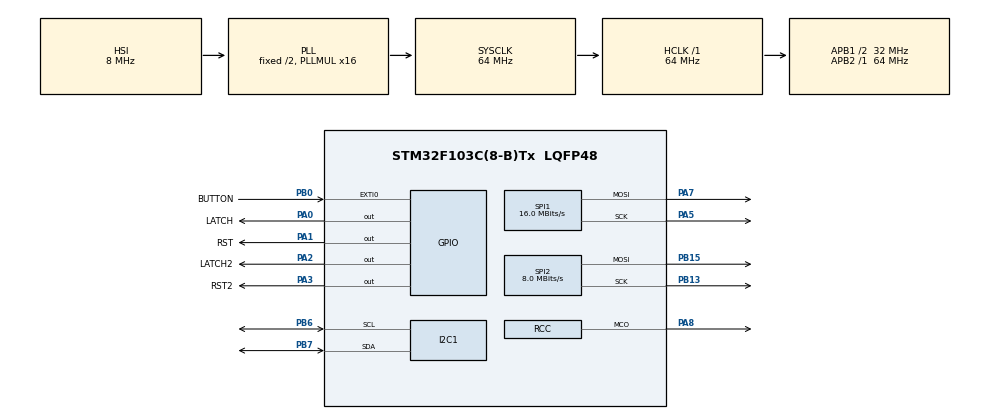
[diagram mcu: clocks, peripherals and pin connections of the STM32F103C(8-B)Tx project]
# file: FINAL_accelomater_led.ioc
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Mcu.Family=STM32F1
Mcu.Name=STM32F103C(8-B)Tx
Mcu.Package=LQFP48
NVIC.EXTI0_IRQn=true\:0\:0\:false\:false\:true\:true\:true
NVIC.PriorityGroup=NVIC_PRIORITYGROUP_4
PA0-WKUP.GPIO_Label=LATCH
PA0-WKUP.Signal=GPIO_Output
PA1.GPIO_Label=RST
PA1.Signal=GPIO_Output
PA13.Mode=Serial_Wire
PA13.Signal=SYS_JTMS-SWDIO
PA14.Mode=Serial_Wire
PA14.Signal=SYS_JTCK-SWCLK
PA2.GPIO_Label=LATCH2
PA2.Signal=GPIO_Output
PA3.GPIO_Label=RST2
PA3.Signal=GPIO_Output
PA5.Mode=TX_Only_Simplex_Unidirect_Master
PA5.Signal=SPI1_SCK
PA7.Mode=TX_Only_Simplex_Unidirect_Master
PA7.Signal=SPI1_MOSI
PA8.Mode=Clock-out
PA8.Signal=RCC_MCO
PB0.GPIO_Label=BUTTON
PB0.Signal=GPXTI0
PB13.Mode=TX_Only_Simplex_Unidirect_Master
PB13.Signal=SPI2_SCK
PB15.Mode=TX_Only_Simplex_Unidirect_Master
PB15.Signal=SPI2_MOSI
PB6.Mode=I2C
PB6.Signal=I2C1_SCL
PB7.Mode=I2C
PB7.Signal=I2C1_SDA
PD0-OSC_IN.Mode=HSE-External-Oscillator
PD0-OSC_IN.Signal=RCC_OSC_IN
PD1-OSC_OUT.Mode=HSE-External-Oscillator
PD1-OSC_OUT.Signal=RCC_OSC_OUT
ProjectManager.HeapSize=0x200
ProjectManager.StackSize=0x400
ProjectManager.TargetToolchain=MDK-ARM V5.27
RCC.AHBFreq_Value=64000000
RCC.APB1CLKDivider=RCC_HCLK_DIV2
RCC.APB1Freq_Value=32000000
RCC.APB1TimFreq_Value=64000000
RCC.APB2Freq_Value=64000000
RCC.APB2TimFreq_Value=64000000
RCC.HCLKFreq_Value=64000000
RCC.PLLMUL=RCC_PLL_MUL16
RCC.RCC_MCOSource=RCC_MCO1SOURCE_PLLCLK
RCC.SYSCLKFreq_VALUE=64000000
RCC.SYSCLKSource=RCC_SYSCLKSOURCE_PLLCLK
RCC.USBFreq_Value=64000000
SPI1.BaudRatePrescaler=SPI_BAUDRATEPRESCALER_4
SPI1.CalculateBaudRate=16.0 MBits/s
SPI1.Direction=SPI_DIRECTION_2LINES
SPI1.FirstBit=SPI_FIRSTBIT_MSB
SPI1.Mode=SPI_MODE_MASTER
SPI1.VirtualType=VM_MASTER
SPI2.BaudRatePrescaler=SPI_BAUDRATEPRESCALER_4
SPI2.CalculateBaudRate=8.0 MBits/s
SPI2.Direction=SPI_DIRECTION_2LINES
SPI2.FirstBit=SPI_FIRSTBIT_LSB
SPI2.Mode=SPI_MODE_MASTER
SPI2.VirtualType=VM_MASTER
board=custom

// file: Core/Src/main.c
/* USER CODE BEGIN Header */
/**
  ******************************************************************************
  * @file           : main.c
  * @brief          : Main program body
  ******************************************************************************
  * @attention
  *
  * <h2><center>&copy; Copyright (c) 2020 STMicroelectronics.
  * All rights reserved.</center></h2>
  *
  * This software component is licensed by ST under BSD 3-Clause license,
  * the "License"; You may not use this file except in compliance with the
  * License. You may obtain a copy of the License at:
  *                        opensource.org/licenses/BSD-3-Clause
  *
  ******************************************************************************
  */
/* USER CODE END Header */
#include "main.h"
#include "i2c.h"
#include "spi.h"
#include "gpio.h"

/* USER CODE BEGIN PV */
int16_t x,y,z;
float xg,yg,zg;
uint8_t data_org[6];
uint8_t devid =0;
uint16_t data3[] = {0x0000,0x0001, 0x0003, 0x0007, 0x000F, 0x001F, 0x003F,0x007F, 0x00FF, 0x01FF, 0x03FF, 0x07FF, 0x0FFF,  0x1FFF, 0x3FFF, 0x7FFF, 0xFFFF};
uint32_t data1[] = {0x000001, 0x000003, 0x000007, 0x00000F, 0x00001F, 0x00003F,0x00007F, 0x0000FF, 0x0001FF, 0x0003FF, 0x0007FF, 0x000FFF, 0x001FFF, 0x003FFF, 0x007FFF, 0x00FFFF, 0X01FFFF, 0x03FFFF, 0x07FFFF, 0x0FFFFF, 0x1FFFFF, 0x3FFFFF,0x7FFFFF, 0XFFFFFF};
	  uint32_t down_out = 0x003800;
	  uint32_t up_out = 0xC00004;
	  uint32_t right_out = 0x0F0000;
	  uint32_t left_out = 0x0001E0;
	  uint16_t down_in = 0x01C0;
	  uint16_t up_in = 0x2003;
	  uint16_t right_in  = 0x0018;
	  uint16_t left_in = 0x0C00;
uint8_t i1,i2, i3, i4, i5, i6, i7, i8, i9, i10, i11, i12;
uint8_t count =0;

/* USER CODE END PV */

void SystemClock_Config(void);
/* USER CODE BEGIN PFP */
#define adxl_address (0x53<<1)
	void led_effect_1(void);
	void led_effect_2(void);
	void down_to_left (void);
	void down_to_right (void);
    void down_to_up (void);
void up_to_left (void);
void up_to_right (void);
void up_to_down(void);
void right_to_up (void);
void right_to_down (void);
void right_to_left (void);
void left_to_up (void);
void left_to_down (void);
void left_to_right (void);
/* USER CODE END PFP */

/* USER CODE BEGIN 0 */
void adxl_reg_write(uint8_t reg, uint8_t value)
{
	uint8_t data[2];
	data[0]= reg;
	data[1]=value;
	HAL_I2C_Master_Transmit(&hi2c1, (adxl_address|0), data, sizeof(data), 100);
}
void adxl_read_value(uint8_t reg)
{

	//hi2c1.Instance->CR1 &= ~(0x0001);
//	hi2c1.Instance->CR1 &= ~(0x0500);
	HAL_I2C_Mem_Read(&hi2c1, (adxl_address|1), reg, 1, (uint8_t *)data_org, 6, 100);
}

void adxl_set_up(void)
{

	HAL_I2C_Mem_Read(&hi2c1, (adxl_address|1), 0x00, 1, &devid, 6, 100);
	adxl_reg_write(0x31, 0x01);//+-4g
	adxl_reg_write(0x2D, 0x00);//reset the power control
	adxl_reg_write(0x2D, 0x08);//wake up as 8hz and measure mode

}
void shift_register( uint8_t *data, uint16_t size)
{
	//set the latch pin low util all bit was shifted

	HAL_GPIO_WritePin(LATCH_GPIO_Port, LATCH_Pin, GPIO_PIN_RESET);
	// shift the bits
	while(HAL_SPI_Transmit(&hspi1, data, size , 300) != HAL_OK);
	//set the latch pin high to transmit
	HAL_GPIO_WritePin(LATCH_GPIO_Port, LATCH_Pin, GPIO_PIN_SET);
	//done
}
void shift_register2( uint8_t *data, uint16_t size)
{
	//set the latch pin low util all bit was shifted

	HAL_GPIO_WritePin(LATCH2_GPIO_Port, LATCH2_Pin, GPIO_PIN_RESET);
	// shift the bits
	while(HAL_SPI_Transmit(&hspi2, data, size , 300) != HAL_OK);
	//set the latch pin high to transmit
	HAL_GPIO_WritePin(LATCH2_GPIO_Port, LATCH2_Pin, GPIO_PIN_SET);
	//done
}
void I2C1_ClearBusyFlagErratum(I2C_HandleTypeDef *instance)
{
	GPIO_InitTypeDef GPIO_InitStruct;
	int timeout =100;
	int timeout_cnt=0;

	// 1. Clear PE bit.
	instance->Instance->CR1 &= ~(0x0001);

	//  2. Configure the SCL and SDA I/Os as General Purpose Output Open-Drain, High level (Write 1 to GPIOx_ODR).
	GPIO_InitStruct.Mode         = GPIO_MODE_OUTPUT_OD;
	//GPIO_InitStruct.Alternate    = GPIO_AF1_I2C1;
	GPIO_InitStruct.Pull         = GPIO_PULLUP;
	GPIO_InitStruct.Speed        = GPIO_SPEED_FREQ_HIGH;

	GPIO_InitStruct.Pin          = GPIO_PIN_6;
	HAL_GPIO_Init(GPIOB, &GPIO_InitStruct);
	HAL_GPIO_WritePin(GPIOB, GPIO_PIN_6, GPIO_PIN_SET);

	GPIO_InitStruct.Pin          = GPIO_PIN_7;
	HAL_GPIO_Init(GPIOB, &GPIO_InitStruct);
	HAL_GPIO_WritePin(GPIOB, GPIO_PIN_7, GPIO_PIN_SET);

	// 3. Check SCL and SDA High level in GPIOx_IDR.
	while (GPIO_PIN_SET != HAL_GPIO_ReadPin(GPIOB, GPIO_PIN_6))
	{
			timeout_cnt++;
			if(timeout_cnt>timeout)
					return;
	}

	while (GPIO_PIN_SET != HAL_GPIO_ReadPin(GPIOB, GPIO_PIN_7))
	{
			//Move clock to release I2C
			HAL_GPIO_WritePin(GPIOB, GPIO_PIN_6, GPIO_PIN_RESET);
			HAL_Delay(2);
			HAL_GPIO_WritePin(GPIOB, GPIO_PIN_6, GPIO_PIN_SET);

			timeout_cnt++;
			if(timeout_cnt>timeout)
					return;
	}

	// 4. Configure the SDA I/O as General Purpose Output Open-Drain, Low level (Write 0 to GPIOx_ODR).
	HAL_GPIO_WritePin(GPIOB, GPIO_PIN_7, GPIO_PIN_RESET);

	//  5. Check SDA Low level in GPIOx_IDR.
	while (GPIO_PIN_RESET != HAL_GPIO_ReadPin(GPIOB, GPIO_PIN_7))
	{
			timeout_cnt++;
			if(timeout_cnt>timeout)
					return;
	}

	// 6. Configure the SCL I/O as General Purpose Output Open-Drain, Low level (Write 0 to GPIOx_ODR).
	HAL_GPIO_WritePin(GPIOB, GPIO_PIN_6, GPIO_PIN_RESET);

	//  7. Check SCL Low level in GPIOx_IDR.
	while (GPIO_PIN_RESET != HAL_GPIO_ReadPin(GPIOB, GPIO_PIN_6))
	{
			timeout_cnt++;
			if(timeout_cnt>timeout)
					return;
	}

	// 8. Configure the SCL I/O as General Purpose Output Open-Drain, High level (Write 1 to GPIOx_ODR).
	HAL_GPIO_WritePin(GPIOB, GPIO_PIN_6, GPIO_PIN_SET);

	// 9. Check SCL High level in GPIOx_IDR.
	while (GPIO_PIN_SET != HAL_GPIO_ReadPin(GPIOB, GPIO_PIN_6))
	{
			timeout_cnt++;
			if(timeout_cnt>timeout)
					return;
	}

	// 10. Configure the SDA I/O as General Purpose Output Open-Drain , High level (Write 1 to GPIOx_ODR).
	HAL_GPIO_WritePin(GPIOB, GPIO_PIN_7, GPIO_PIN_SET);

	// 11. Check SDA High level in GPIOx_IDR.
	while (GPIO_PIN_SET != HAL_GPIO_ReadPin(GPIOB, GPIO_PIN_7))
	{
			timeout_cnt++;
			if(timeout_cnt>timeout)
					return;
	}

	// 12. Configure the SCL and SDA I/Os as Alternate function Open-Drain.
	GPIO_InitStruct.Mode = GPIO_MODE_AF_OD;
	GPIO_InitStruct.Pull = GPIO_PULLUP;
	GPIO_InitStruct.Speed = GPIO_SPEED_FREQ_LOW;
	//GPIO_InitStruct.Alternate = GPIO_AF4_I2C1;

	GPIO_InitStruct.Pin = GPIO_PIN_6;
	HAL_GPIO_Init(GPIOB, &GPIO_InitStruct);

	GPIO_InitStruct.Pin = GPIO_PIN_7;
	HAL_GPIO_Init(GPIOB, &GPIO_InitStruct);

	HAL_GPIO_WritePin(GPIOB, GPIO_PIN_6, GPIO_PIN_SET);
	HAL_GPIO_WritePin(GPIOB, GPIO_PIN_7, GPIO_PIN_SET);

	// 13. Set SWRST bit in I2Cx_CR1 register.
	instance->Instance->CR1 |= 0x8000;

	__nop();

	// 14. Clear SWRST bit in I2Cx_CR1 register.
	instance->Instance->CR1 &= ~0x8000;

	__nop();

	// 15. Enable the I2C peripheral by setting the PE bit in I2Cx_CR1 register
	instance->Instance->CR1 |= 0x0001;

	// Call initialization function.
	HAL_I2C_Init(instance);
}
/* USER CODE END 0 */

int main(void)
{

  /* MCU Configuration--------------------------------------------------------*/

  /* Reset of all peripherals, Initializes the Flash interface and the Systick. */
  HAL_Init();

  /* Configure the system clock */
  SystemClock_Config();

  /* Initialize all configured peripherals */
  MX_GPIO_Init();
  MX_I2C1_Init();
  MX_SPI1_Init();
  MX_SPI2_Init();
  /* USER CODE BEGIN 2 */
//for(volatile uint8_t i=0; i<255; i++)
//		{
//	  // Find BNO address and clear busy fault if any
//		if (HAL_I2C_IsDeviceReady(&hi2c1,i,1,10) == HAL_OK) {
//			//break;
//		}
//		else
//			I2C1_ClearBusyFlagErratum(&hi2c1);
//	}

	adxl_set_up();
	HAL_GPIO_WritePin(RST_GPIO_Port, RST_Pin, 0);
	HAL_Delay(100);
	HAL_GPIO_WritePin(RST_GPIO_Port, RST_Pin, 1);
	HAL_Delay(100);
	HAL_GPIO_WritePin(RST2_GPIO_Port, RST2_Pin, 0);
	HAL_Delay(100);
	HAL_GPIO_WritePin(RST2_GPIO_Port, RST2_Pin, 1);
  /* USER CODE END 2 */

  /* Infinite loop */
  while (1)
  {

    /* USER CODE BEGIN 3 */
	 if(count ==0)
		 {
	  int16_t x1 ,y1 ;
	   adxl_read_value(0x32);
	  x = ((data_org[1]<<8)|data_org[0]);
	  y = ((data_org[3]<<8)|data_org[2]);
	  z = ((data_org[5]<<8)|data_org[4]);

	  if(y > 45 )
	  {
		  HAL_Delay(1000);
		  adxl_read_value(0x32);
			x1 = ((data_org[1]<<8)|data_org[0]);
			y1 = ((data_org[3]<<8)|data_org[2]);

		  if ((x1 > 65)  && (i1 != 6) )
		  {
			  down_to_left();
			  i2= i3 = i4= i5 = i6 = i7= i8 = i10 =i9 = i11 = i12 =0;
			  //break;
		  }
		  if ((x1 < -45)   && ( i2 != 6))
		  {
			  down_to_right();
			  i1= i3 = i4= i5 = i6 = i7= i8 = i10 =i9 = i11 = i12 =0;
			 // break;
		  }
		   if ((y1 > 45) && (z <30))
		  {
			shift_register2((uint8_t *) &down_out, 3);
			shift_register((uint8_t *) &down_in, 2);
			  //break;
		  }
		  if ((y1 < -45) && (i9 != 1))
		  {
			  down_to_up();
			  i1=i2 = i3 = i4= i5 = i6 = i7= i8 = i10 = i11 = i12 = 0;
			  //break;
		  }

	  }

	  if(x  > 45 )
	  {
		  HAL_Delay(1000);
		  adxl_read_value(0x32);
			x1 = ((data_org[1]<<8)|data_org[0]);
			y1 = ((data_org[3]<<8)|data_org[2]);

		  if ((x1 > 45)  )
		  {
			  shift_register2((uint8_t *) &left_out, 3);
			shift_register((uint8_t *) &left_in, 2);
			  //break;
		  }
		  if ((x1 < -65) && ( i12 != 1))
		  {
			  left_to_right();
			  i1= i2= i3 = i4= i5 = i6 = i7= i8 = i9 = i10 = i11 =0;
			//  break;
		  }
		   if ((y1 > 55) && (i8 != 5))
		  {
			left_to_down();
			  i1=i2= i3 = i4= i5 = i6 = i7= i12 = i9 = i10 = i11 =0;
			 // break;
		  }
		  if ((y1 < -45) && (i7 != 5))
		  {
			  left_to_up();
			  i1= i2 = i3 = i4= i5 = i6 = i9= i8 = i10 = i11 = i12 = 0;
			 // break;
		  }

	  }

	   if(y < -45 )
	  {
		  HAL_Delay(1000);
		  adxl_read_value(0x32);
			x1 = ((data_org[1]<<8)|data_org[0]);
			y1 = ((data_org[3]<<8)|data_org[2]);

		  if ((x1 > 45) && (i3 != 6) )
		  {
			  up_to_left();
			  i2= i1 = i4= i5 = i6 = i7= i8 = i10 =i9 = i11 = i12 =0;
			 // break;
		  }
		  if ((x1 < -45) && ( i4 != 6))
		  {
			  up_to_right();
			  i1= i3 = i2= i5 = i6 = i7= i8 = i10 =i9 = i11 = i12 =0;
			  //break;
		  }
		   if ((y1 > 45) && (i10 != 1))
		  {
			up_to_down();
			  i1= i3 = i4= i5 = i6 = i7= i8 = i2 =i9 = i11 = i12 =0;
			 // break;
		  }
		  if ((y1 < -45) )
		  {
			 shift_register2((uint8_t *) &up_out, 3);
			shift_register((uint8_t *) &up_in, 2);
			  //break;
		  }

	  }

	  if(x  < -45 )
	  {
		  HAL_Delay(1000);
		  adxl_read_value(0x32);
			x1 = ((data_org[1]<<8)|data_org[0]);
			y1 = ((data_org[3]<<8)|data_org[2]);

		  if ((x1 > 65) && (i11!=1)  )
		  {
			right_to_left();
			  i1= i2= i3 = i4= i5 = i6 = i7= i12 = i9 = i10 = i8 =0;
			//  break;
		  }
		  if ((x1 < -65) && ( z > 40))
		  {
			 shift_register2((uint8_t *) &right_out, 3);
			shift_register((uint8_t *) &right_in, 2);
			 // break;
		  }
		   if ((y1 > 75) && (z >40)  && (i6 != 5))
		  {
			right_to_down();
			  i1=i2= i3 = i4= i5 = i8 = i7= i12 = i9 = i10 = i11 =0;
			  //break;
		  }
		  if ((y1 < -65) && (i5 != 5))
		  {
			  right_to_up();
			  i1=i2 = i3 = i4= i7 = i6 = i9= i8 = i10 = i11 = i12 = 0;
			  //break;
		  }

	  }
	  }

	  if (count == 1)
		  {
					led_effect_1();
		  }

		if(count == 2 )
			{
					led_effect_2();
					led_effect_2();
					led_effect_2();
					led_effect_2();
			}
		if(count ==3)
			{
				count = 0;
			}

 }
  /* USER CODE END 3 */
}

void SystemClock_Config(void)
{
  RCC_OscInitTypeDef RCC_OscInitStruct = {0};
  RCC_ClkInitTypeDef RCC_ClkInitStruct = {0};

  /** Initializes the RCC Oscillators according to the specified parameters
  * in the RCC_OscInitTypeDef structure.
  */
  RCC_OscInitStruct.OscillatorType = RCC_OSCILLATORTYPE_HSI;
  RCC_OscInitStruct.HSIState = RCC_HSI_ON;
  RCC_OscInitStruct.HSICalibrationValue = RCC_HSICALIBRATION_DEFAULT;
  RCC_OscInitStruct.PLL.PLLState = RCC_PLL_ON;
  RCC_OscInitStruct.PLL.PLLSource = RCC_PLLSOURCE_HSI_DIV2;
  RCC_OscInitStruct.PLL.PLLMUL = RCC_PLL_MUL16;
  if (HAL_RCC_OscConfig(&RCC_OscInitStruct) != HAL_OK)
  {
    Error_Handler();
  }
  /** Initializes the CPU, AHB and APB buses clocks
  */
  RCC_ClkInitStruct.ClockType = RCC_CLOCKTYPE_HCLK|RCC_CLOCKTYPE_SYSCLK
                              |RCC_CLOCKTYPE_PCLK1|RCC_CLOCKTYPE_PCLK2;
  RCC_ClkInitStruct.SYSCLKSource = RCC_SYSCLKSOURCE_PLLCLK;
  RCC_ClkInitStruct.AHBCLKDivider = RCC_SYSCLK_DIV1;
  RCC_ClkInitStruct.APB1CLKDivider = RCC_HCLK_DIV2;
  RCC_ClkInitStruct.APB2CLKDivider = RCC_HCLK_DIV1;

  if (HAL_RCC_ClockConfig(&RCC_ClkInitStruct, FLASH_LATENCY_2) != HAL_OK)
  {
    Error_Handler();
  }
  HAL_RCC_MCOConfig(RCC_MCO, RCC_MCO1SOURCE_PLLCLK, RCC_MCODIV_1);
}

/* USER CODE BEGIN 4 */
void led_effect_1(void)
{

		   int i;
	 for(i =0; i<=15; i++)
	{
		shift_register( (uint8_t *) &data3[i], 2);
		HAL_Delay(50);
	}

	 for(i =15; i>=0; i--)
	{
		shift_register((uint8_t *) &data3[i], 2);
		HAL_Delay(50);
	}
		 for(i =0; i<=23; i++)
	{
		shift_register2( (uint8_t *) &data1[i], 3);
		HAL_Delay(50);
	}

	 for(i =23; i>=0; i--)
	{
		shift_register2((uint8_t *) &data1[i], 3);
		HAL_Delay(50);
	}
}

void led_effect_2(void)
{
	shift_register2((uint8_t *) &data1[23], 3);
	shift_register((uint8_t *) &data3[15], 2);
	HAL_Delay(200);
	shift_register2((uint8_t *) &data1[0], 3);
	shift_register((uint8_t *) &data3[0], 2);
	HAL_Delay(200);
}

void down_to_left (void)
{
	uint32_t down_out_2;
	uint16_t down_in_2;

	  for(i1 =0; i1 <= 6; i1++)
	  {

		  down_out_2 = down_out;
		  down_in_2 = down_in;
		  down_out_2 = (down_out_2)>>i1;
		  down_in_2 = (down_in_2) << (i1-2);
	  shift_register( (uint8_t *) &(down_in_2), 2);
	  shift_register2( (uint8_t *) &(down_out_2), 3);
	  HAL_Delay(70);
	  }
	  shift_register( (uint8_t *) &(left_in), 2);
	  shift_register2( (uint8_t *) &(left_out), 3);
	  HAL_Delay(50);
}
void down_to_right (void)
{
	uint32_t down_out_2;
	uint16_t down_in_2;

	  for(i2 =0; i2 <= 6; i2++)
	  {
		  down_out_2 = down_out;
		  down_in_2 = down_in;
		  down_out_2 = (down_out_2)<<i2;
		  down_in_2 = (down_in_2) >> (i2-3);
	  shift_register( (uint8_t *) &(down_in_2), 2);
	  shift_register2( (uint8_t *) &(down_out_2), 3);
	  HAL_Delay(50);
	  }
	   shift_register( (uint8_t *) &(right_in), 2);
	  shift_register2( (uint8_t *) &(right_out), 3);
	  HAL_Delay(50);
}

void down_to_up (void)
{
	shift_register( (uint8_t *) &(up_in), 2);
	  shift_register2( (uint8_t *) &(up_out), 3);
	HAL_Delay(50);
	i9 =1;
}

void up_to_left (void)
{
	uint32_t up_out_2;
	uint16_t up_in_2;

	  for(i3 =0; i3 <= 6; i3++)
	  {

		  up_out_2 = up_out;
		  up_in_2 = up_in;
		  up_out_2 = (up_out_2) << i3;
		  up_in_2 = (up_in_2) >> (i3 -3) ;
	  shift_register( (uint8_t *) &(up_in_2), 2);
	  shift_register2( (uint8_t *) &(up_out_2), 3);
	  HAL_Delay(50);
	  }
	  shift_register( (uint8_t *) &(left_in), 2);
	  shift_register2( (uint8_t *) &(left_out), 3);
	  HAL_Delay(50);
}

void up_to_right (void)
{
	uint32_t up_out_2;
	uint16_t up_in_2;

	  for(i4 =0; i4 <= 6; i4++)
	  {

		  up_out_2 = up_out;
		  up_in_2 = up_in;
		  up_out_2 = (up_out_2) >> i4;
		  up_in_2 = (up_in_2) << (i4 -3) ;
	  shift_register( (uint8_t *) &(up_in_2), 2);
	  shift_register2( (uint8_t *) &(up_out_2), 3);
	  HAL_Delay(50);
	  }
	  shift_register( (uint8_t *) &(right_in), 2);
	  shift_register2( (uint8_t *) &(right_out), 3);
	  HAL_Delay(50);
}

void up_to_down(void)
{
	  shift_register( (uint8_t *) &(down_in), 2);
	  shift_register2( (uint8_t *) &(down_out), 3);
	HAL_Delay(50);
	i10 =1;
}

void right_to_up (void)
{
	uint32_t right_out_2;
	uint16_t right_in_2;

	  for(i5 =0; i5 <= 5; i5++)
	  {

		  right_out_2 = right_out;
		  right_in_2 = right_in;
		  right_out_2 = (right_out_2)<<i5;
		  right_in_2 = (right_in_2) >> (i5-1);
	  shift_register( (uint8_t *) &(right_in_2), 2);
	  shift_register2( (uint8_t *) &(right_out_2), 3);
	  HAL_Delay(50);
	  }
	  shift_register( (uint8_t *) &(up_in), 2);
	  shift_register2( (uint8_t *) &(up_out), 3);
	  HAL_Delay(50);
}

void right_to_down (void)
{
	uint32_t right_out_2;
	uint16_t right_in_2;

	  for(i6 =0; i6 <= 5; i6++)
	  {

		  right_out_2 = right_out;
		  right_in_2 = right_in;
		  right_out_2 = (right_out_2) >> i6;
		  right_in_2 = (right_in_2) << (i6-1);
	  shift_register( (uint8_t *) &(right_in_2), 2);
	  shift_register2( (uint8_t *) &(right_out_2), 3);
	  HAL_Delay(50);
	  }
	  shift_register( (uint8_t *) &(down_in), 2);
	  shift_register2( (uint8_t *) &(down_out), 3);
	  HAL_Delay(50);
}

void right_to_left (void)
{
	shift_register( (uint8_t *) &(left_in), 2);
	shift_register2( (uint8_t *) &(left_out), 3);
	HAL_Delay(50);
	i11 =1;
}

void left_to_up (void)
{
	uint32_t left_out_2;
	uint16_t left_in_2;

	  for(i7 =0; i7 <= 5; i7++)
	  {

		  left_out_2 = left_out;
		  left_in_2 = left_in;
		  left_out_2 = (left_out_2)>>i7;
		  left_in_2 = (left_in_2)<<(i7-1);
	  shift_register( (uint8_t *) &(left_in_2), 2);
	  shift_register2( (uint8_t *) &(left_out_2), 3);
	  HAL_Delay(50);
	  }
	  shift_register( (uint8_t *) &(up_in), 2);
	  shift_register2( (uint8_t *) &(up_out), 3);
	  HAL_Delay(50);
}

void left_to_down (void)
{
	uint32_t left_out_2;
	uint16_t left_in_2;

	  for(i8 =0; i8 <= 5; i8++)
	  {

		  left_out_2 = left_out;
		  left_in_2 = left_in;
		  left_out_2 = (left_out_2)<<i8;
		  left_in_2 = (left_in_2)>>(i8-1);
	  shift_register( (uint8_t *) &(left_in_2), 2);
	  shift_register2( (uint8_t *) &(left_out_2), 3);
	  HAL_Delay(50);
	  }
	  shift_register( (uint8_t *) &(down_in), 2);
	  shift_register2( (uint8_t *) &(down_out), 3);
	  HAL_Delay(50);
}

void left_to_right (void)
{
	shift_register( (uint8_t *) &(right_in), 2);
	  shift_register2( (uint8_t *) &(right_out), 3);
	  HAL_Delay(50);
	i12 =1;
}

void HAL_GPIO_EXTI_Callback( uint16_t GPIO_Pin)
{
	if(GPIO_Pin == BUTTON_Pin)
		{
			count ++;
		}
}
/* USER CODE END 4 */

void Error_Handler(void)
{
}

/************************ (C) COPYRIGHT STMicroelectronics *****END OF FILE****/
